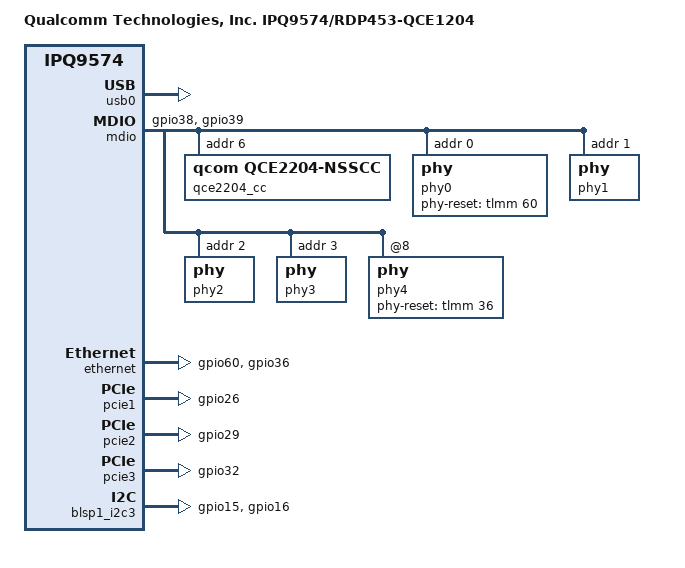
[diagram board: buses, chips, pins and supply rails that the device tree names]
// SPDX-License-Identifier: GPL-2.0-only
/*
 * Copyright (c) Qualcomm Technologies, Inc. and/or its subsidiaries.
 */

/dts-v1/;

#include "ipq9574-rdp453.dts"
#include "ipq9574-rdp-common-ub.dtsi"
#include <asm/arch/dt-bindings/clock/qcom,qce2204-nsscc.h>
#include <asm/arch/dt-bindings/reset/qcom,qce2204-nsscc.h>

/ {
	model = "Qualcomm Technologies, Inc. IPQ9574/RDP453-QCE1204";
	compatible = "qcom,ipq9574-rdp453-qce1204", "qcom,ipq9574";

	soc@0 {
		qmp_ssphy_0: ssphy@7D000 {
			status = "okay";
		};

		qusb2_phy_0: qusb2@7B000 {
			status = "okay";
		};

		usb0: usb@8af8800 {
			status = "okay";

			dwc3@8a00000 {
				phys = <&qusb2_phy_0>, <&qmp_ssphy_0>;
				phy-names = "usb2-phy", "usb3-phy";
				maximum-speed = "super-speed";
			};
		};

		mdio: mdio@90000 {
			pinctrl-names = "default";
			pinctrl-0 = <&mdio_pinmux>;
			status = "okay";
			qcom,package-mode = "qusgmii";

			/* Clock controller */
			qce2204_cc: clock-controller@6 {
				compatible = "qcom,qce2204-nsscc";
				reg = <6>;
				#clock-cells = <1>;
				#reset-cells = <1>;
			};

			phy0: phy@0 {
				reg = <0>;
				phy-reset-gpio = <&tlmm 60 0>;
				phy_addr = <0>;
				phy_type = <QCE1204_PHY_TYPE>;
				id = <1>;
				uniphy_id = <0>;
				uniphy_type = <0>;
				xgmac;
				qcom,package-mode = "qusgmii";
				base_addr = <0>;

				/* Per-PHY clocks */
				clocks = <&qce2204_cc QCE2204_NSSCC_SRDS1_SYS_CLK>,
					<&qce2204_cc QCE2204_NSSCC_MAC1_GEPHY0_TX_CLK>,
					<&qce2204_cc QCE2204_NSSCC_MAC1_GEPHY0_RX_CLK>,
					<&qce2204_cc QCE2204_NSSCC_GEPHY0_SYS_CLK>,
					/* Shared clocks for package */
					<&qce2204_cc QCE2204_NSSCC_MAC1_SRDS1_CH0_TX_CLK>,
					<&qce2204_cc QCE2204_NSSCC_MAC1_SRDS1_CH0_RX_CLK>,
					<&qce2204_cc QCE2204_NSSCC_MAC0_1_SRDS1_CH0_XGMII_TX_CLK>,
					<&qce2204_cc QCE2204_NSSCC_MAC0_1_SRDS1_CH0_XGMII_RX_CLK>,
					<&qce2204_cc QCE2204_NSSCC_MAC2_SRDS1_CH1_TX_CLK>,
					<&qce2204_cc QCE2204_NSSCC_MAC2_SRDS1_CH1_RX_CLK>,
					<&qce2204_cc QCE2204_NSSCC_MAC2_SRDS1_CH1_XGMII_TX_CLK>,
					<&qce2204_cc QCE2204_NSSCC_MAC2_SRDS1_CH1_XGMII_RX_CLK>,
					<&qce2204_cc QCE2204_NSSCC_MAC3_SRDS1_CH2_TX_CLK>,
					<&qce2204_cc QCE2204_NSSCC_MAC3_SRDS1_CH2_RX_CLK>,
					<&qce2204_cc QCE2204_NSSCC_MAC3_SRDS1_CH2_XGMII_TX_CLK>,
					<&qce2204_cc QCE2204_NSSCC_MAC3_SRDS1_CH2_XGMII_RX_CLK>,
					<&qce2204_cc QCE2204_NSSCC_MAC4_SRDS1_CH3_TX_CLK>,
					<&qce2204_cc QCE2204_NSSCC_MAC4_SRDS1_CH3_RX_CLK>,
					<&qce2204_cc QCE2204_NSSCC_MAC4_SRDS1_CH3_XGMII_TX_CLK>,
					<&qce2204_cc QCE2204_NSSCC_MAC4_SRDS1_CH3_XGMII_RX_CLK>,
					<&qce2204_cc QCE2204_NSSCC_AHB_CLK>,
					<&qce2204_cc QCE2204_NSSCC_SRDS1_RX_MUX_SEL>,
					<&qce2204_cc QCE2204_NSSCC_SRDS1_TX_MUX_SEL>,
					<&qce2204_cc QCE2204_NSSCC_SRDS1_XGMII_RX_MUX_SEL>,
					<&qce2204_cc QCE2204_NSSCC_SRDS1_XGMII_TX_MUX_SEL>;
				clock-names = "pcs_sys_clk", "tx_clk", "rx_clk", "sys_clk",
					"ch0_gmii_tx_clk",
					"ch0_gmii_rx_clk",
					"ch0_xgmii_tx_clk",
					"ch0_xgmii_rx_clk",
					"ch1_gmii_tx_clk",
					"ch1_gmii_rx_clk",
					"ch1_xgmii_tx_clk",
					"ch1_xgmii_rx_clk",
					"ch2_gmii_tx_clk",
					"ch2_gmii_rx_clk",
					"ch2_xgmii_tx_clk",
					"ch2_xgmii_rx_clk",
					"ch3_gmii_tx_clk",
					"ch3_gmii_rx_clk",
					"ch3_xgmii_tx_clk",
					"ch3_xgmii_rx_clk",
					"ahb_clk",
					"srds1_rx_mux",
					"srds1_tx_mux",
					"srds1_xgmii_rx_mux",
					"srds1_xgmii_tx_mux";

				/* Per-PHY resets */
				resets = <&qce2204_cc QCE2204_NSSCC_SRDS1_SYS_ARES>,
					<&qce2204_cc QCE2204_NSSCC_MAC1_GEPHY0_TX_ARES>,
					<&qce2204_cc QCE2204_NSSCC_MAC1_GEPHY0_RX_ARES>,
					<&qce2204_cc QCE2204_NSSCC_GEPHY0_SYS_ARES>,
					/* Shared resets for package */
					<&qce2204_cc QCE2204_NSSCC_MAC1_SRDS1_CH0_TX_ARES>,
					<&qce2204_cc QCE2204_NSSCC_MAC1_SRDS1_CH0_RX_ARES>,
					<&qce2204_cc QCE2204_NSSCC_MAC0_1_SRDS1_CH0_XGMII_TX_ARES>,
					<&qce2204_cc QCE2204_NSSCC_MAC0_1_SRDS1_CH0_XGMII_RX_ARES>,
					<&qce2204_cc QCE2204_NSSCC_MAC2_SRDS1_CH1_TX_ARES>,
					<&qce2204_cc QCE2204_NSSCC_MAC2_SRDS1_CH1_RX_ARES>,
					<&qce2204_cc QCE2204_NSSCC_MAC2_SRDS1_CH1_XGMII_TX_ARES>,
					<&qce2204_cc QCE2204_NSSCC_MAC2_SRDS1_CH1_XGMII_RX_ARES>,
					<&qce2204_cc QCE2204_NSSCC_MAC3_SRDS1_CH2_TX_ARES>,
					<&qce2204_cc QCE2204_NSSCC_MAC3_SRDS1_CH2_RX_ARES>,
					<&qce2204_cc QCE2204_NSSCC_MAC3_SRDS1_CH2_XGMII_TX_ARES>,
					<&qce2204_cc QCE2204_NSSCC_MAC3_SRDS1_CH2_XGMII_RX_ARES>,
					<&qce2204_cc QCE2204_NSSCC_MAC4_SRDS1_CH3_TX_ARES>,
					<&qce2204_cc QCE2204_NSSCC_MAC4_SRDS1_CH3_RX_ARES>,
					<&qce2204_cc QCE2204_NSSCC_MAC4_SRDS1_CH3_XGMII_TX_ARES>,
					<&qce2204_cc QCE2204_NSSCC_MAC4_SRDS1_CH3_XGMII_RX_ARES>,
					<&qce2204_cc QCE2204_NSSCC_SRDS1_XPCS_ARES>,
					<&qce2204_cc QCE2204_NSSCC_SWITCH_BTQ_ARES>,
					<&qce2204_cc QCE2204_NSSCC_SWITCH_CFG_ARES>,
					<&qce2204_cc QCE2204_NSSCC_SWITCH_CORE_ARES>,
					<&qce2204_cc QCE2204_NSSCC_SWITCH_IPE_ARES>,
					<&qce2204_cc QCE2204_NSSCC_SWITCH_MAC0_ARES>,
					<&qce2204_cc QCE2204_NSSCC_SWITCH_MAC1_ARES>,
					<&qce2204_cc QCE2204_NSSCC_SWITCH_MAC2_ARES>,
					<&qce2204_cc QCE2204_NSSCC_SWITCH_MAC3_ARES>,
					<&qce2204_cc QCE2204_NSSCC_SWITCH_MAC4_ARES>,
					<&qce2204_cc QCE2204_NSSCC_SWITCH_MAC5_ARES>,
					<&qce2204_cc QCE2204_NSSCC_XGMAC0_PTP_REF_ARES>,
					<&qce2204_cc QCE2204_NSSCC_XGMAC1_PTP_REF_ARES>,
					<&qce2204_cc QCE2204_NSSCC_MAC0_TX_ARES>,
					<&qce2204_cc QCE2204_NSSCC_MAC0_RX_ARES>,
					<&qce2204_cc QCE2204_NSSCC_MAC1_TX_ARES>,
					<&qce2204_cc QCE2204_NSSCC_MAC1_RX_ARES>,
					<&qce2204_cc QCE2204_NSSCC_MAC2_TX_ARES>,
					<&qce2204_cc QCE2204_NSSCC_MAC2_RX_ARES>,
					<&qce2204_cc QCE2204_NSSCC_MAC3_TX_ARES>,
					<&qce2204_cc QCE2204_NSSCC_MAC3_RX_ARES>,
					<&qce2204_cc QCE2204_NSSCC_MAC4_TX_ARES>,
					<&qce2204_cc QCE2204_NSSCC_MAC4_RX_ARES>,
					<&qce2204_cc QCE2204_NSSCC_MAC5_TX_ARES>,
					<&qce2204_cc QCE2204_NSSCC_MAC5_RX_ARES>;
				reset-names = "pcs_sys_reset", "tx_reset", "rx_reset", "sys_reset",
					"ch0_gmii_tx_reset",
					"ch0_gmii_rx_reset",
					"ch0_xgmii_tx_reset",
					"ch0_xgmii_rx_reset",
					"ch1_gmii_tx_reset",
					"ch1_gmii_rx_reset",
					"ch1_xgmii_tx_reset",
					"ch1_xgmii_rx_reset",
					"ch2_gmii_tx_reset",
					"ch2_gmii_rx_reset",
					"ch2_xgmii_tx_reset",
					"ch2_xgmii_rx_reset",
					"ch3_gmii_tx_reset",
					"ch3_gmii_rx_reset",
					"ch3_xgmii_tx_reset",
					"ch3_xgmii_rx_reset",
					"xpcs",
					"switch_btq_reset",
					"switch_cfg_reset",
					"switch_core_reset",
					"switch_ipe_reset",
					"switch_mac0_reset",
					"switch_mac1_reset",
					"switch_mac2_reset",
					"switch_mac3_reset",
					"switch_mac4_reset",
					"switch_mac5_reset",
					"xgmac0_ptp_ref_reset",
					"xgmac1_ptp_ref_reset",
					"mac0_tx_reset",
					"mac0_rx_reset",
					"mac1_tx_reset",
					"mac1_rx_reset",
					"mac2_tx_reset",
					"mac2_rx_reset",
					"mac3_tx_reset",
					"mac3_rx_reset",
					"mac4_tx_reset",
					"mac4_rx_reset",
					"mac5_tx_reset",
					"mac5_rx_reset";
			};

			phy1: phy@1 {
				reg = <1>;
				phy_addr = <1>;
				phy_type = <QCE1204_PHY_TYPE>;
				id = <2>;
				uniphy_id = <0>;
				uniphy_type = <0>;
				xgmac;
				qcom,package-mode = "qusgmii";

				clocks = <&qce2204_cc QCE2204_NSSCC_MAC2_GEPHY1_TX_CLK>,
					<&qce2204_cc QCE2204_NSSCC_MAC2_GEPHY1_RX_CLK>,
					<&qce2204_cc QCE2204_NSSCC_GEPHY1_SYS_CLK>;
				clock-names = "tx_clk", "rx_clk", "sys_clk";

				resets = <&qce2204_cc QCE2204_NSSCC_MAC2_GEPHY1_TX_ARES>,
					<&qce2204_cc QCE2204_NSSCC_MAC2_GEPHY1_RX_ARES>,
					<&qce2204_cc QCE2204_NSSCC_GEPHY1_SYS_ARES>;
				reset-names = "tx_reset", "rx_reset", "sys_reset";
			};

			phy2: phy@2 {
				reg = <2>;
				phy_addr = <2>;
				phy_type = <QCE1204_PHY_TYPE>;
				id = <3>;
				uniphy_id = <0>;
				uniphy_type = <0>;
				xgmac;
				qcom,package-mode = "qusgmii";

				clocks = <&qce2204_cc QCE2204_NSSCC_MAC3_GEPHY2_TX_CLK>,
					<&qce2204_cc QCE2204_NSSCC_MAC3_GEPHY2_RX_CLK>,
					<&qce2204_cc QCE2204_NSSCC_GEPHY2_SYS_CLK>;
				clock-names = "tx_clk", "rx_clk", "sys_clk";

				resets = <&qce2204_cc QCE2204_NSSCC_MAC3_GEPHY2_TX_ARES>,
					<&qce2204_cc QCE2204_NSSCC_MAC3_GEPHY2_RX_ARES>,
					<&qce2204_cc QCE2204_NSSCC_GEPHY2_SYS_ARES>;
				reset-names = "tx_reset", "rx_reset", "sys_reset";
			};

			phy3: phy@3 {
				reg = <3>;
				phy_addr = <3>;
				phy_type = <QCE1204_PHY_TYPE>;
				id = <4>;
				uniphy_id = <0>;
				uniphy_type = <0>;
				xgmac;
				qcom,package-mode = "qusgmii";

				clocks = <&qce2204_cc QCE2204_NSSCC_MAC4_GEPHY3_TX_CLK>,
					<&qce2204_cc QCE2204_NSSCC_MAC4_GEPHY3_RX_CLK>,
					<&qce2204_cc QCE2204_NSSCC_GEPHY3_SYS_CLK>;
				clock-names = "tx_clk", "rx_clk", "sys_clk";

				resets = <&qce2204_cc QCE2204_NSSCC_MAC4_GEPHY3_TX_ARES>,
					<&qce2204_cc QCE2204_NSSCC_MAC4_GEPHY3_RX_ARES>,
					<&qce2204_cc QCE2204_NSSCC_GEPHY3_SYS_ARES>;
				reset-names = "tx_reset", "rx_reset", "sys_reset";
			};

			phy4: phy@8 {
				phy-reset-gpio = <&tlmm 36 0>;
				phy_addr = <8>;
				phy_type = <AQ_PHY_TYPE>;
				phy-mode = "usxgmii";
				id = <5>;
				uniphy_id = <1>;
				uniphy_type = <1>;
				xgmac;
			};
		};

		ethernet: nss-switch {
			pinctrl-names = "default";
			pinctrl-0 = <&phy_rst_pinmux>;
			phy-handle0 = <&phy0>;
			phy-handle1 = <&phy1>;
			phy-handle2 = <&phy2>;
			phy-handle3 = <&phy3>;
			phy-handle4 = <&phy4>;
			status = "okay";
		};

		pcie1: pci@10000000 {
			pinctrl-names = "default";
			pinctrl-0 = <&pci1_pin>;
			status = "okay";
			perst-gpios = <&tlmm 26 GPIO_ACTIVE_LOW>;
		};

		pcie2: pci@20000000 {
			pinctrl-names = "default";
			pinctrl-0 = <&pci2_pin>;
			status = "okay";
			perst-gpios = <&tlmm 29 GPIO_ACTIVE_LOW>;
		};

		pcie3: pci@18000000 {
			pinctrl-names = "default";
			pinctrl-0 = <&pci3_pin>;
			status = "okay";
			perst-gpios = <&tlmm 32 GPIO_ACTIVE_LOW>;
		};
	};
};

&blsp1_i2c3 {
	pinctrl-names = "default";
	pinctrl-0 = <&blsp1_i2c3_pinmux>;
	status = "okay";
};

&tlmm {
	mdio_pinmux: mdio {
		mdc {
			pins = "gpio38";
			function = "mdc";
			drive-strength = <8>;
			bias-disable;
		};

		mdio {
			pins = "gpio39";
			function = "mdio";
			drive-strength = <8>;
			bias-pull-up;
		};
	};

	phy_rst_pinmux: phy_rst {
		qti_1204_rst {
			pins = "gpio60";
			drive-strength = <8>;
			bias-pull-up;
		};

		qti_aquantia_rst {
			pins = "gpio36";
			drive-strength = <8>;
			bias-pull-up;
		};
	};

	pci1_pin: pci1-default-state {
		pins = "gpio26";
		function = "gpio";
		drive-strength = <8>;
		bias-pull-up;
		output-low;
	};

	pci2_pin: pci2-default-state {
		pins = "gpio29";
		function = "gpio";
		drive-strength = <8>;
		bias-pull-down;
		output-low;
	};

	pci3_pin: pci3-default-state {
		pins = "gpio32";
		function = "gpio";
		drive-strength = <8>;
		bias-pull-up;
		output-low;
	};

	blsp1_i2c3_pinmux: blsp_i2c3_pins {
		blsp3_scl {
			pins = "gpio15";
			function = "blsp3_i2c";
			drive-strength = <8>;
			bias-pull-up;
		};

		blsp3_sda {
			pins = "gpio16";
			function = "blsp3_i2c";
			drive-strength = <8>;
			bias-pull-up;
		};
	};
};
